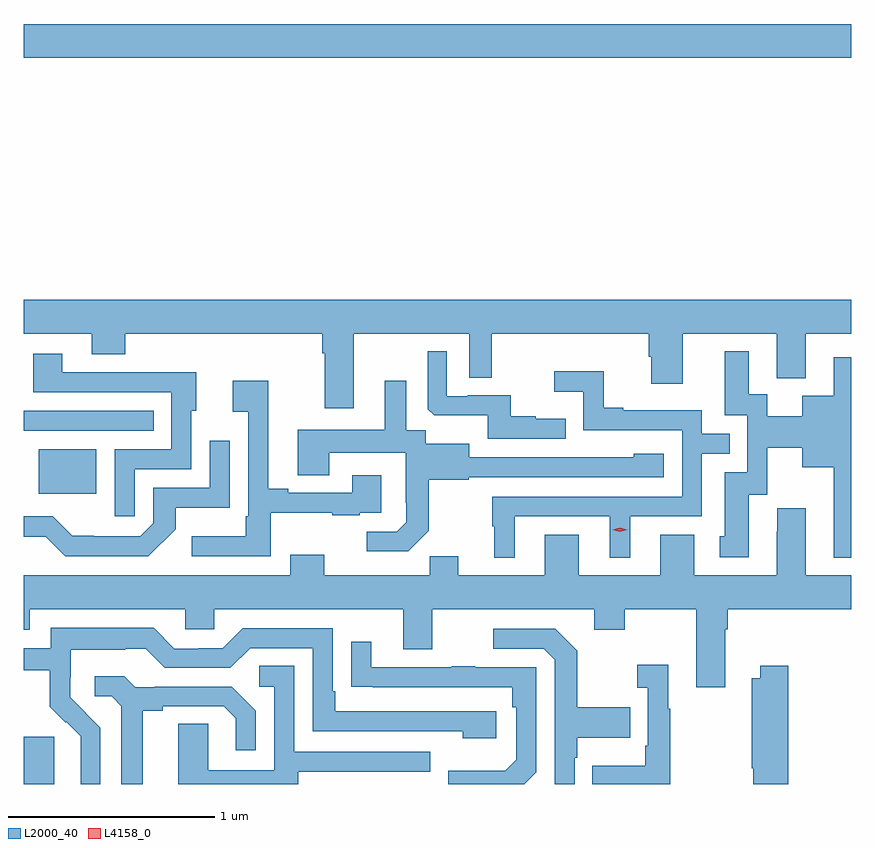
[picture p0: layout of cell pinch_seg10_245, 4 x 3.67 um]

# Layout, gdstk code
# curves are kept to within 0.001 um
import gdstk
lib = gdstk.Library(unit=1e-6, precision=1e-09)
def R(c, l, rs):  # rectangles x0, y0, x1, y1
    for r in rs: c.add(gdstk.rectangle(r[:2], r[2:], *l))
def P(c, l, *ps):  # polygons
    for p in ps: c.add(gdstk.Polygon(p, *l))
L2000_40 = (2000, 40)
L4158_0 = (4158, 0)

pinch_seg10_245 = lib.new_cell('pinch_seg10_245')
R(pinch_seg10_245, L2000_40, [(574.057,1318.119,574.204,1318.347), (574.13,1319.522,574.408,1319.737), (574.057,1319.826,574.685,1319.922), (574.057,1321.628,578.057,1321.792)])
P(pinch_seg10_245, L2000_40, [(574.057,1320.296),(574.385,1320.296),(574.385,1320.197),(574.549,1320.197),(574.549,1320.296),(575.501,1320.296),(575.501,1320.2),(575.513,1320.2),(575.513,1319.934),(575.653,1319.934),(575.653,1320.296),(576.21,1320.296),(576.21,1320.082),(576.319,1320.082),(576.319,1320.296),(577.079,1320.296),(577.079,1320.183),(577.091,1320.183),(577.091,1320.054),(577.243,1320.054),(577.243,1320.296),(577.697,1320.296),(577.697,1320.08),(577.837,1320.08),(577.837,1320.296),(578.057,1320.296),(578.057,1320.46),(574.057,1320.46)],
  [(576.677,1319.884),(576.533,1319.884),(576.533,1319.896),(576.41,1319.896),(576.41,1319.997),(576.202,1319.997),(576.202,1319.994),(576.102,1319.994),(576.102,1320.211),(576.009,1320.211),(576.009,1319.931),(576.041,1319.9),(576.3,1319.9),(576.3,1319.787),(576.677,1319.787)],
  [(578.057,1320.181),(577.973,1320.181),(577.973,1319.995),(577.82,1319.995),(577.82,1319.896),(577.651,1319.896),(577.651,1320.002),(577.561,1320.002),(577.561,1320.211),(577.445,1320.211),(577.445,1319.901),(577.554,1319.901),(577.554,1319.625),(577.445,1319.625),(577.445,1319.316),(577.421,1319.316),(577.421,1319.214),(577.561,1319.214),(577.561,1319.517),(577.65,1319.517),(577.65,1319.744),(577.82,1319.744),(577.82,1319.651),(577.973,1319.651),(577.973,1319.213),(578.057,1319.213)],
  [(574.593,1319.64),(574.866,1319.64),(574.866,1319.922),(574.891,1319.922),(574.891,1320.11),(574.673,1320.11),(574.673,1320.108),(574.243,1320.108),(574.243,1320.199),(574.103,1320.199),(574.103,1320.012),(574.77,1320.012),(574.77,1319.736),(574.497,1319.736),(574.497,1319.412),(574.593,1319.412)],
  [(576.43,1319.412),(576.89,1319.412),(576.89,1319.213),(576.988,1319.213),(576.988,1319.412),(577.335,1319.412),(577.335,1319.715),(577.469,1319.715),(577.469,1319.811),(577.335,1319.811),(577.335,1319.925),(576.955,1319.925),(576.955,1319.938),(576.861,1319.938),(576.861,1320.113),(576.621,1320.113),(576.621,1320.014),(576.762,1320.014),(576.762,1319.829),(577.239,1319.829),(577.239,1319.508),(576.321,1319.508),(576.321,1319.364),(576.332,1319.364),(576.332,1319.213),(576.43,1319.213)],
  [(576.015,1319.343),(576.015,1319.589),(576.207,1319.589),(576.207,1319.601),(577.15,1319.601),(577.15,1319.716),(577.005,1319.716),(577.005,1319.698),(576.211,1319.697),(576.211,1319.764),(576,1319.764),(576,1319.828),(575.905,1319.828),(575.905,1320.067),(575.801,1320.067),(575.801,1319.83),(575.381,1319.83),(575.381,1319.611),(575.533,1319.611),(575.533,1319.72),(575.904,1319.72),(575.904,1319.479),(575.906,1319.479),(575.906,1319.384),(575.859,1319.337),(575.715,1319.337),(575.715,1319.243),(575.915,1319.243)],
  [(575.251,1319.429),(575.549,1319.429),(575.549,1319.418),(575.681,1319.418),(575.681,1319.43),(575.785,1319.43),(575.785,1319.611),(575.645,1319.611),(575.645,1319.526),(575.335,1319.526),(575.335,1319.545),(575.239,1319.545),(575.239,1320.067),(575.067,1320.067),(575.067,1319.918),(575.142,1319.918),(575.142,1319.413),(575.13,1319.413),(575.13,1319.317),(574.869,1319.317),(574.869,1319.22),(575.251,1319.22)],
  [(574.791,1319.351),(574.791,1319.453),(575.052,1319.453),(575.052,1319.779),(574.956,1319.779),(574.956,1319.55),(574.683,1319.55),(574.683,1319.379),(574.62,1319.316),(574.396,1319.316),(574.396,1319.318),(574.292,1319.318),(574.197,1319.412),(574.057,1319.412),(574.057,1319.315),(574.163,1319.315),(574.257,1319.22),(574.66,1319.22)],
  [(577.447,1318.868),(577.46,1318.868),(577.46,1318.964),(578.057,1318.964),(578.057,1319.128),(577.837,1319.128),(577.837,1319.452),(577.698,1319.452),(577.698,1319.339),(577.697,1319.339),(577.697,1319.128),(577.297,1319.128),(577.297,1319.323),(577.133,1319.323),(577.133,1319.128),(576.739,1319.128),(576.739,1319.323),(576.575,1319.323),(576.575,1319.128),(576.157,1319.128),(576.157,1319.219),(576.019,1319.219),(576.019,1319.128),(575.509,1319.128),(575.509,1319.227),(575.345,1319.227),(575.345,1319.128),(574.057,1319.128),(574.057,1318.865),(574.087,1318.865),(574.087,1318.964),(574.839,1318.964),(574.839,1318.866),(574.977,1318.866),(574.977,1318.964),(575.891,1318.964),(575.891,1318.77),(576.031,1318.77),(576.031,1318.964),(576.815,1318.964),(576.815,1318.865),(576.963,1318.865),(576.963,1318.964),(577.307,1318.964),(577.307,1318.587),(577.447,1318.587)],
  [(574.428,1318.39),(574.282,1318.538),(574.282,1318.635),(574.284,1318.635),(574.284,1318.769),(574.547,1318.769),(574.547,1318.773),(574.647,1318.773),(574.74,1318.68),(575.055,1318.68),(575.151,1318.776),(575.454,1318.776),(575.454,1318.374),(576.179,1318.374),(576.179,1318.34),(576.34,1318.34),(576.34,1318.47),(575.563,1318.47),(575.563,1318.567),(575.55,1318.567),(575.55,1318.872),(575.115,1318.872),(575.019,1318.776),(574.901,1318.776),(574.901,1318.773),(574.785,1318.773),(574.685,1318.873),(574.188,1318.873),(574.188,1318.776),(574.057,1318.776),(574.057,1318.668),(574.183,1318.668),(574.183,1318.493),(574.26,1318.416),(574.263,1318.419),(574.334,1318.349),(574.334,1318.226),(574.332,1318.226),(574.332,1318.119),(574.428,1318.119)],
  [(576.72,1318.247),(576.733,1318.247),(576.733,1318.343),(576.989,1318.343),(576.989,1318.491),(576.733,1318.491),(576.733,1318.763),(576.627,1318.869),(576.327,1318.869),(576.327,1318.773),(576.57,1318.773),(576.624,1318.719),(576.624,1318.119),(576.72,1318.119)],
  [(576.534,1318.176),(576.534,1318.683),(576.239,1318.683),(576.239,1318.688),(576.127,1318.688),(576.127,1318.683),(575.737,1318.683),(575.737,1318.807),(575.641,1318.807),(575.641,1318.588),(576.418,1318.587),(576.418,1318.49),(576.438,1318.49),(576.438,1318.236),(576.385,1318.183),(576.108,1318.183),(576.108,1318.119),(576.477,1318.119)],
  [(577.183,1318.483),(577.171,1318.483),(577.171,1318.696),(577.023,1318.696),(577.023,1318.583),(577.074,1318.583),(577.074,1318.303),(577.062,1318.303),(577.062,1318.207),(576.805,1318.207),(576.805,1318.119),(577.183,1318.119)],
  [(575.383,1318.179),(576.023,1318.179),(576.023,1318.275),(575.364,1318.275),(575.364,1318.691),(575.196,1318.691),(575.196,1318.59),(575.268,1318.59),(575.268,1318.185),(574.95,1318.185),(574.95,1318.409),(574.805,1318.409),(574.805,1318.119),(575.383,1318.119)],
  [(577.751,1318.69),(577.616,1318.69),(577.616,1318.63),(577.576,1318.63),(577.576,1318.195),(577.583,1318.195),(577.583,1318.119),(577.751,1318.119)],
  [(574.633,1318.472),(574.729,1318.472),(574.729,1318.494),(575.024,1318.494),(575.081,1318.437),(575.081,1318.281),(575.178,1318.281),(575.178,1318.474),(575.062,1318.59),(574.69,1318.59),(574.69,1318.587),(574.596,1318.587),(574.544,1318.639),(574.401,1318.639),(574.401,1318.542),(574.482,1318.542),(574.529,1318.495),(574.529,1318.119),(574.633,1318.119)])
P(pinch_seg10_245, L4158_0, [(576.939,1319.338),(576.903,1319.348),(576.903,1319.348),(576.903,1319.348),(576.939,1319.358),(576.975,1319.348),(576.975,1319.348),(576.975,1319.348)])

lib.write_gds('pinch_seg10_245.gds')
